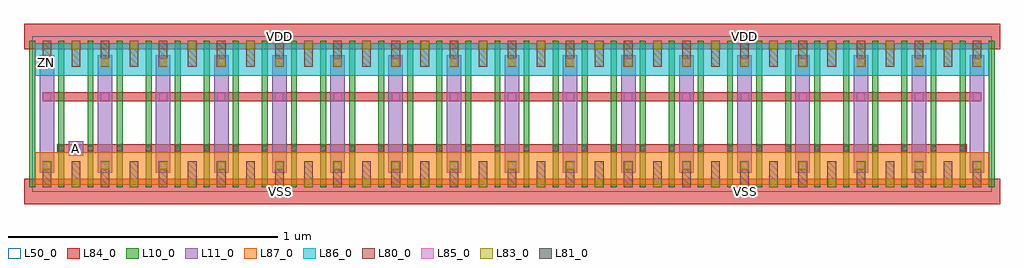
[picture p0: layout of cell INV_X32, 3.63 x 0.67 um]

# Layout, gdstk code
import gdstk
lib = gdstk.Library(unit=1e-6, precision=1e-09)
def R(c, l, rs):  # rectangles x0, y0, x1, y1
    for r in rs: c.add(gdstk.rectangle(r[:2], r[2:], *l))
def A(c, l, x, y, w, h, nx, ny, dx, dy):  # array of equal rectangles
    R(c, l, [(x+i*dx, y+j*dy, x+i*dx+w, y+j*dy+h) for i in range(nx) for j in range(ny)])
L10_0 = (10, 0)
L11_0 = (11, 0)
L50_0 = (50, 0)
L80_0 = (80, 0)
L81_0 = (81, 0)
L83_0 = (83, 0)
L84_0 = (84, 0)
L85_0 = (85, 0)
L86_0 = (86, 0)
L87_0 = (87, 0)

inv_x32 = lib.new_cell('INV_X32')
A(inv_x32, L10_0, -0.352, 0.25, 0.022, 0.544, 5, 1, 0.108, 0)
A(inv_x32, L10_0, 0.188, 0.25, 0.022, 0.544, 4, 1, 0.108, 0)
A(inv_x32, L10_0, 0.62, 0.25, 0.022, 0.544, 4, 1, 0.108, 0)
A(inv_x32, L10_0, 1.052, 0.25, 0.022, 0.544, 4, 1, 0.108, 0)
A(inv_x32, L10_0, 1.484, 0.25, 0.022, 0.544, 4, 1, 0.108, 0)
A(inv_x32, L10_0, 1.916, 0.25, 0.022, 0.544, 4, 1, 0.108, 0)
A(inv_x32, L10_0, 2.348, 0.25, 0.022, 0.544, 4, 1, 0.108, 0)
A(inv_x32, L10_0, 2.78, 0.25, 0.022, 0.544, 5, 1, 0.108, 0)
R(inv_x32, L10_0, [(0.08,0.25,0.102,0.794), (0.188,0.25,0.21,0.794), (0.512,0.25,0.534,0.794), (0.62,0.25,0.642,0.794), (0.944,0.25,0.966,0.794), (1.052,0.25,1.074,0.794), (1.376,0.25,1.398,0.794), (1.484,0.25,1.506,0.794), (1.808,0.25,1.83,0.794), (1.916,0.25,1.938,0.794), (2.24,0.25,2.262,0.794), (2.348,0.25,2.37,0.794), (2.672,0.25,2.694,0.794), (2.78,0.25,2.802,0.794)])
A(inv_x32, L11_0, -0.314, 0.303, 0.054, 0.438, 3, 1, 0.216, 0)
A(inv_x32, L11_0, 0.118, 0.303, 0.054, 0.438, 3, 1, 0.216, 0)
A(inv_x32, L11_0, 0.55, 0.303, 0.054, 0.438, 3, 1, 0.216, 0)
A(inv_x32, L11_0, 0.982, 0.303, 0.054, 0.438, 3, 1, 0.216, 0)
A(inv_x32, L11_0, 1.414, 0.303, 0.054, 0.438, 3, 1, 0.216, 0)
A(inv_x32, L11_0, 1.846, 0.303, 0.054, 0.438, 3, 1, 0.216, 0)
A(inv_x32, L11_0, 2.278, 0.303, 0.054, 0.438, 3, 1, 0.216, 0)
A(inv_x32, L11_0, 2.71, 0.303, 0.054, 0.438, 3, 1, 0.216, 0)
R(inv_x32, L11_0, [(-0.206,0.367,-0.152,0.421)])
R(inv_x32, L50_0, [(-0.341,0.234,1.495,0.81), (1.387,0.234,3.223,0.81)])
A(inv_x32, L80_0, -0.303, 0.25, 0.032, 0.096, 5, 2, 0.108, 0.448)
A(inv_x32, L80_0, 0.129, 0.25, 0.032, 0.096, 5, 2, 0.108, 0.448)
A(inv_x32, L80_0, 0.561, 0.25, 0.032, 0.096, 5, 2, 0.108, 0.448)
A(inv_x32, L80_0, 0.993, 0.25, 0.032, 0.096, 5, 2, 0.108, 0.448)
A(inv_x32, L80_0, 1.425, 0.25, 0.032, 0.096, 5, 2, 0.108, 0.448)
A(inv_x32, L80_0, 1.857, 0.25, 0.032, 0.096, 5, 2, 0.108, 0.448)
A(inv_x32, L80_0, 2.289, 0.25, 0.032, 0.096, 5, 2, 0.108, 0.448)
A(inv_x32, L80_0, 2.721, 0.25, 0.032, 0.096, 5, 2, 0.108, 0.448)
A(inv_x32, L81_0, -0.243, 0.384, 0.02, 0.02, 32, 1, 0.108, 0)
A(inv_x32, L83_0, -0.193, 0.252, 0.028, 0.028, 16, 2, 0.216, 0.512)
A(inv_x32, L83_0, -0.301, 0.316, 0.028, 0.028, 3, 2, 0.216, 0.384)
A(inv_x32, L83_0, 0.131, 0.316, 0.028, 0.028, 3, 2, 0.216, 0.384)
A(inv_x32, L83_0, 0.563, 0.316, 0.028, 0.028, 3, 2, 0.216, 0.384)
A(inv_x32, L83_0, 0.995, 0.316, 0.028, 0.028, 3, 2, 0.216, 0.384)
A(inv_x32, L83_0, 1.427, 0.316, 0.028, 0.028, 3, 2, 0.216, 0.384)
A(inv_x32, L83_0, 1.859, 0.316, 0.028, 0.028, 3, 2, 0.216, 0.384)
A(inv_x32, L83_0, 2.291, 0.316, 0.028, 0.028, 3, 2, 0.216, 0.384)
A(inv_x32, L83_0, 2.723, 0.316, 0.028, 0.028, 3, 2, 0.216, 0.384)
A(inv_x32, L84_0, -0.372, 0.186, 0.602, 0.096, 8, 2, 0.432, 0.576)
A(inv_x32, L84_0, -0.303, 0.314, 0.032, 0.032, 3, 2, 0.216, 0.384)
A(inv_x32, L84_0, 0.129, 0.314, 0.032, 0.032, 3, 2, 0.216, 0.384)
A(inv_x32, L84_0, 0.561, 0.314, 0.032, 0.032, 3, 2, 0.216, 0.384)
A(inv_x32, L84_0, 0.993, 0.314, 0.032, 0.032, 3, 2, 0.216, 0.384)
A(inv_x32, L84_0, 1.425, 0.314, 0.032, 0.032, 3, 2, 0.216, 0.384)
A(inv_x32, L84_0, 1.857, 0.314, 0.032, 0.032, 3, 2, 0.216, 0.384)
A(inv_x32, L84_0, 2.289, 0.314, 0.032, 0.032, 3, 2, 0.216, 0.384)
A(inv_x32, L84_0, 2.721, 0.314, 0.032, 0.032, 3, 2, 0.216, 0.384)
A(inv_x32, L84_0, -0.303, 0.57, 0.464, 0.032, 8, 1, 0.432, 0)
R(inv_x32, L84_0, [(-0.249,0.378,0.107,0.41), (0.068,0.378,0.539,0.41), (0.51,0.378,0.971,0.41), (0.932,0.378,1.626,0.41), (1.479,0.378,1.835,0.41), (1.796,0.378,2.267,0.41), (2.238,0.378,2.699,0.41), (2.66,0.378,3.131,0.41)])
A(inv_x32, L85_0, -0.302, 0.315, 0.03, 0.03, 3, 2, 0.216, 0.256)
A(inv_x32, L85_0, 0.13, 0.315, 0.03, 0.03, 3, 2, 0.216, 0.256)
A(inv_x32, L85_0, 0.562, 0.315, 0.03, 0.03, 3, 2, 0.216, 0.256)
A(inv_x32, L85_0, 0.994, 0.315, 0.03, 0.03, 3, 2, 0.216, 0.256)
A(inv_x32, L85_0, 1.426, 0.315, 0.03, 0.03, 3, 2, 0.216, 0.256)
A(inv_x32, L85_0, 1.858, 0.315, 0.03, 0.03, 3, 2, 0.216, 0.256)
A(inv_x32, L85_0, 2.29, 0.315, 0.03, 0.03, 3, 2, 0.216, 0.256)
A(inv_x32, L85_0, 2.722, 0.315, 0.03, 0.03, 3, 2, 0.216, 0.256)
A(inv_x32, L85_0, -0.302, 0.699, 0.03, 0.03, 3, 1, 0.216, 0)
A(inv_x32, L85_0, 0.13, 0.699, 0.03, 0.03, 3, 1, 0.216, 0)
A(inv_x32, L85_0, 0.562, 0.699, 0.03, 0.03, 3, 1, 0.216, 0)
A(inv_x32, L85_0, 0.994, 0.699, 0.03, 0.03, 3, 1, 0.216, 0)
A(inv_x32, L85_0, 1.426, 0.699, 0.03, 0.03, 3, 1, 0.216, 0)
A(inv_x32, L85_0, 1.858, 0.699, 0.03, 0.03, 3, 1, 0.216, 0)
A(inv_x32, L85_0, 2.29, 0.699, 0.03, 0.03, 3, 1, 0.216, 0)
A(inv_x32, L85_0, 2.722, 0.699, 0.03, 0.03, 3, 1, 0.216, 0)
R(inv_x32, L85_0, [(-0.194,0.379,-0.164,0.409)])
A(inv_x32, L86_0, -0.33, 0.664, 0.518, 0.12, 8, 1, 0.432, 0)
A(inv_x32, L87_0, -0.33, 0.26, 0.518, 0.12, 8, 1, 0.432, 0)
inv_x32.add(gdstk.Label('VDD', (2.305,0.81), layer=88, texttype=0))
inv_x32.add(gdstk.Label('VSS', (2.308,0.234), layer=88, texttype=0))
inv_x32.add(gdstk.Label('VSS', (0.58,0.234), layer=88, texttype=0))
inv_x32.add(gdstk.Label('VDD', (0.577,0.81), layer=88, texttype=0))
inv_x32.add(gdstk.Label('ZN', (-0.287,0.714), layer=31, texttype=0))
inv_x32.add(gdstk.Label('A', (-0.179,0.394), layer=31, texttype=0))

lib.write_gds('INV_X32.gds')
